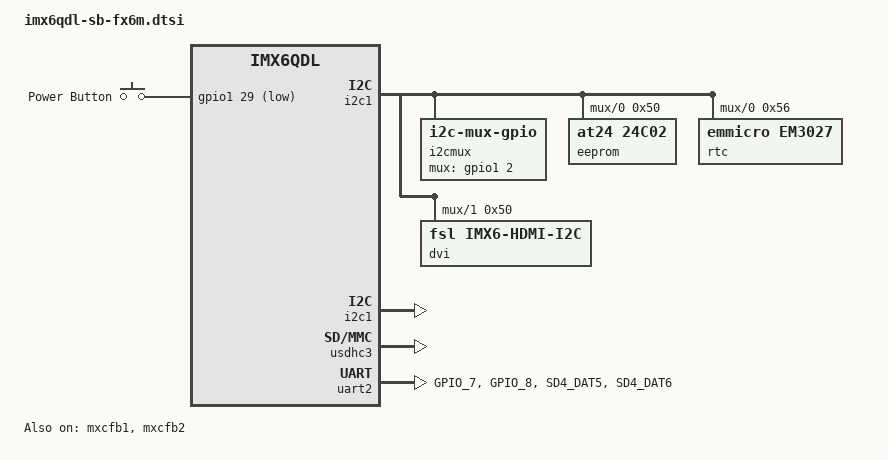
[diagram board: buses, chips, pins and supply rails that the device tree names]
/*
 * Copyright 2014 CompuLab Ltd.
 *
 * Author: Valentin Raevsky <valentin@compulab.co.il>
 *
 * The code contained herein is licensed under the GNU General Public
 * License. You may obtain a copy of the GNU General Public License
 * Version 2 or later at the following locations:
 *
 * http://www.opensource.org/licenses/gpl-license.html
 * http://www.gnu.org/copyleft/gpl.html
 */

/ {
	iomux_uart2: pinmux@20E0924 {
		compatible = "pinctrl-single";
		reg = <0x20E0000 0x924>;	/* Single register */
		#address-cells = <1>;
		#size-cells = <0>;
		pinctrl-single,register-width = <32>;
		pinctrl-single,function-mask = <0x4>;
	};

	eth@pcie {
		compatible = "intel,i211";
		local-mac-address = [FF FF FF FF FF FF];
		status = "okay";
	};

	gpio-keys {
		compatible = "gpio-keys";
		power {
			label = "Power Button";
			gpios = <&gpio1 29 1>;
			linux,code = <116>; /* KEY_POWER */
			gpio-key,wakeup;
		};
	};

	i2cmux {
		compatible = "i2c-mux-gpio";
		#address-cells = <1>;
		#size-cells = <0>;
		mux-gpios = <&gpio1 2 0>;
		i2c-parent = <&i2c1>;

		i2c@0 {
			reg = <0>;
			#address-cells = <1>;
			#size-cells = <0>;

			eeprom@50 {
				compatible = "at24,24c02";
				reg = <0x50>;
				pagesize = <16>;
			};

			rtc@56 {
				compatible = "emmicro,em3027";
				reg = <0x56>;
			};
		};

		i2c@1 {
			reg = <1>;
			#address-cells = <1>;
			#size-cells = <0>;

			dvi: edid@50 {
				compatible = "fsl,imx6-hdmi-i2c";
				reg = <0x50>;
			};
		};
	};
};

&iomuxc {
	imx6q-sbc-fx6m {
		/* pins for uart2 */
		pinctrl_uart2: uart2grp {
			fsl,pins = <
				MX6QDL_PAD_GPIO_7__UART2_TX_DATA 0x1b0b1
				MX6QDL_PAD_GPIO_8__UART2_RX_DATA 0x1b0b1
				MX6QDL_PAD_SD4_DAT5__UART2_RTS_B 0x1b0b1
				MX6QDL_PAD_SD4_DAT6__UART2_CTS_B 0x1b0b1
		>;
		};
	};
};

&i2c1 {
	status = "okay";
};

&usdhc3 {
	status = "okay";
};

/* rear serial console */
&uart2 {
	pinctrl-names = "default";
	pinctrl-0 = <&pinctrl_uart2>;
	fsl,uart-has-rtscts;
	status = "okay";
};

&mxcfb1 {
	status = "okay";
};

&mxcfb2 {
	status = "okay";
};
